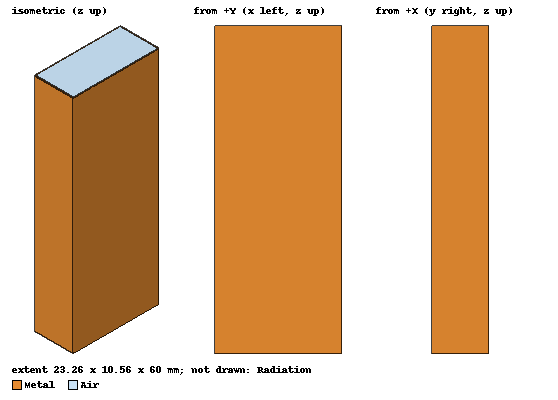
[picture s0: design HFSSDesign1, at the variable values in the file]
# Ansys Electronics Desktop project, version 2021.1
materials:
  vacuum: permittivity=1
  copper: permeability=0.999991 conductivity=58000000
  air: permittivity=1.0006 permeability=1.0000004

design HFSSDesign1 (HFSS, DrivenModal, model units mm)
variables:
  a = 22.86mm
  b = 10.16mm
  L = 60mm
  th = 0.2mm
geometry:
  Box1 = box(corner=(-a/2, -b/2, 0mm), size=(a, b, L))
  Metal [copper] = box(corner=(-a/2-th, -b/2-th, 0mm), size=(a+2*th, b+2*th, L))
  Metal.subtract(Box1)
  Air [air] = box(corner=(-a/2, -b/2, 0mm), size=(a, b, L))
  Radiation [air] = box(corner=(-a/2 -5mm, -b/2-5mm, 0mm), size=(a+10mm, b+10mm, L))
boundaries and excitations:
  Rad1: Radiation Objects=Radiation
  1: Wave Port Faces=Air.face(-z) NumModes=4 Modes{Mode1{IntLine{middle of Air.edge(6 of 12) -> middle of Air.edge(8 of 12)} CharImp=Zpi} Mode2{CharImp=Zpi} Mode3{CharImp=Zpi} Mode4{CharImp=Zpi}}
  2: Wave Port Faces=Air.face(+z) NumModes=4 Modes{Mode1{IntLine{middle of Air.edge(4 of 12) -> middle of Air.edge(2 of 12)} CharImp=Zpi} Mode2{CharImp=Zpi} Mode3{CharImp=Zpi} Mode4{CharImp=Zpi}}
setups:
  Setup1: HfssDriven Frequency=10GHz MaxDeltaS=0.02 MaximumPasses=6 MinimumPasses=1 MinimumConvergedPasses=1 PercentRefinement=30 BasisOrder=-1 PortAccuracy=2 IterativeResidual=1e-06 DDMSolverResidual=0.0001
    sweep Sweep: 5GHz to 15GHz step 0.1GHz; Type=Discrete SaveFields
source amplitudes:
  1:1: 1W 0deg
  1:2, 1:3, 1:4, 2:1..2:4: 0W 0deg
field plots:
  Mag_E1, Vector_E1: E Field in Air on Setup1 : LastAdaptive at Freq=10GHz Phase=0deg
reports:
  S Parameter Plot 1: dB(S(2:1,1:1)) vs Freq on Setup1 : Sweep
